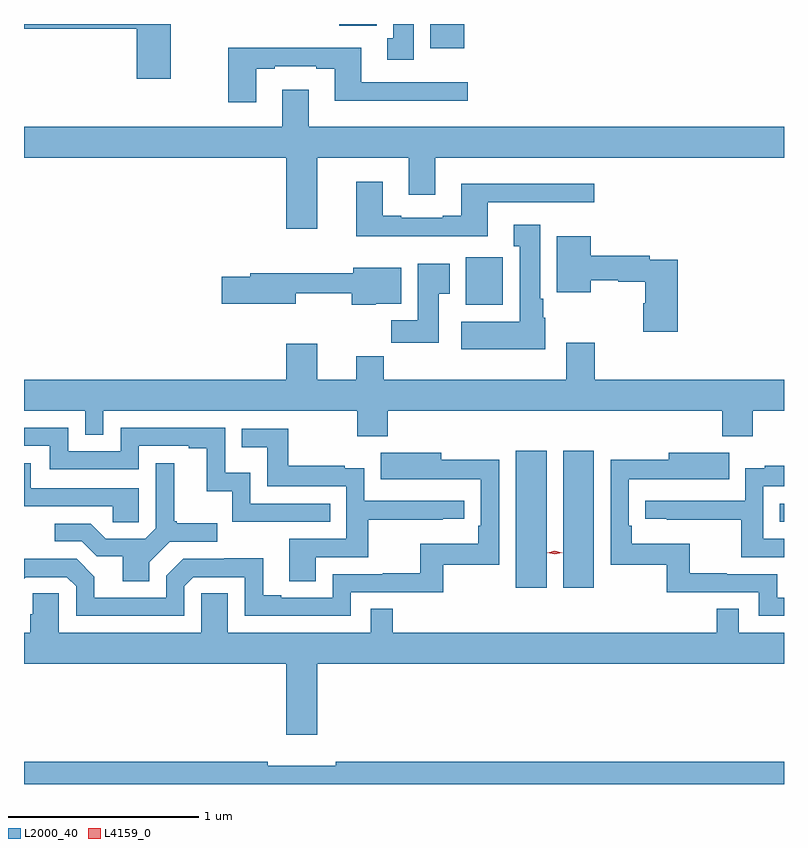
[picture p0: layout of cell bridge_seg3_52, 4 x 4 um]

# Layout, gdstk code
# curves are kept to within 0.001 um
import gdstk
lib = gdstk.Library(unit=1e-6, precision=1e-09)
def R(c, l, rs):  # rectangles x0, y0, x1, y1
    for r in rs: c.add(gdstk.rectangle(r[:2], r[2:], *l))
def P(c, l, *ps):  # polygons
    for p in ps: c.add(gdstk.Polygon(p, *l))
L2000_40 = (2000, 40)
L4159_0 = (4159, 0)

bridge_seg3_52 = lib.new_cell('bridge_seg3_52')
R(bridge_seg3_52, L2000_40, [(1041.341,687.996,1041.502,688.717), (1041.59,687.996,1041.751,688.717), (1042.729,688.344,1042.752,688.44), (1041.077,689.486,1041.273,689.737), (1040.891,690.836,1041.07,690.964), (1040.411,690.956,1040.608,690.964)])
P(bridge_seg3_52, L2000_40, [(1040.803,690.964),(1040.696,690.964),(1040.696,690.89),(1040.663,690.89),(1040.663,690.777),(1040.803,690.777)],
  [(1039.524,690.964),(1038.752,690.964),(1038.752,690.94),(1039.346,690.94),(1039.346,690.675),(1039.524,690.675)],
  [(1039.975,690.729),(1040.071,690.729),(1040.071,690.741),(1040.291,690.741),(1040.291,690.729),(1040.387,690.729),(1040.387,690.56),(1041.088,690.56),(1041.088,690.657),(1040.527,690.657),(1040.527,690.838),(1039.828,690.838),(1039.828,690.552),(1039.975,690.552)],
  [(1040.296,690.26),(1040.777,690.26),(1040.777,690.066),(1040.917,690.066),(1040.917,690.26),(1042.752,690.26),(1042.752,690.424),(1040.251,690.424),(1040.251,690.619),(1040.111,690.619),(1040.111,690.424),(1038.752,690.424),(1038.752,690.26),(1040.132,690.26),(1040.132,689.886),(1040.296,689.886)],
  [(1041.193,690.027),(1041.754,690.027),(1041.754,690.124),(1041.053,690.124),(1041.053,689.956),(1040.957,689.956),(1040.957,689.943),(1040.737,689.943),(1040.737,689.956),(1040.641,689.956),(1040.641,690.133),(1040.501,690.133),(1040.501,689.846),(1041.193,689.846)],
  [(1041.496,689.418),(1041.484,689.418),(1041.484,689.518),(1041.469,689.518),(1041.469,689.908),(1041.329,689.908),(1041.329,689.795),(1041.362,689.795),(1041.362,689.398),(1041.053,689.398),(1041.053,689.252),(1041.496,689.252)],
  [(1042.193,689.724),(1042.046,689.724),(1042.046,689.744),(1041.736,689.744),(1041.736,689.848),(1041.557,689.848),(1041.557,689.552),(1041.736,689.552),(1041.736,689.616),(1041.879,689.616),(1041.879,689.608),(1042.022,689.608),(1042.022,689.493),(1042.01,689.493),(1042.01,689.343),(1042.193,689.343)],
  [(1040.935,689.545),(1040.992,689.545),(1040.992,689.701),(1040.825,689.701),(1040.825,689.404),(1040.686,689.404),(1040.686,689.286),(1040.935,689.286)],
  [(1040.604,689.492),(1040.737,689.492),(1040.737,689.68),(1040.486,689.68),(1040.486,689.652),(1039.943,689.652),(1039.943,689.633),(1039.794,689.633),(1039.794,689.491),(1040.182,689.491),(1040.182,689.548),(1040.478,689.548),(1040.478,689.486),(1040.604,689.486)],
  [(1040.666,688.928),(1042.427,688.928),(1042.427,688.793),(1042.587,688.793),(1042.587,688.928),(1042.752,688.928),(1042.752,689.092),(1041.757,689.092),(1041.757,689.287),(1041.605,689.287),(1041.605,689.092),(1040.645,689.092),(1040.645,689.216),(1040.501,689.216),(1040.501,689.092),(1040.296,689.092),(1040.296,689.281),(1040.132,689.281),(1040.132,689.092),(1038.752,689.092),(1038.752,688.928),(1039.074,688.928),(1039.074,688.801),(1039.17,688.801),(1039.17,688.928),(1040.506,688.928),(1040.506,688.793),(1040.666,688.793)],
  [(1040.363,688.44),(1039.944,688.44),(1039.944,688.603),(1039.812,688.603),(1039.812,688.839),(1039.26,688.839),(1039.26,688.716),(1038.984,688.716),(1038.984,688.839),(1038.752,688.839),(1038.752,688.743),(1038.888,688.743),(1038.888,688.62),(1039.356,688.62),(1039.356,688.743),(1039.619,688.743),(1039.619,688.731),(1039.715,688.731),(1039.715,688.505),(1039.848,688.505),(1039.848,688.344),(1040.363,688.344)],
  [(1040.287,688.158),(1040.564,688.158),(1040.564,688.354),(1040.957,688.354),(1040.957,688.359),(1041.07,688.359),(1041.07,688.455),(1040.544,688.455),(1040.544,688.627),(1040.441,688.627),(1040.441,688.639),(1040.143,688.639),(1040.143,688.833),(1039.897,688.833),(1039.897,688.736),(1040.032,688.736),(1040.032,688.53),(1040.448,688.53),(1040.448,688.254),(1040.147,688.254),(1040.147,688.03),(1040.287,688.03)],
  [(1039.596,688.005),(1039.644,688.053),(1039.914,688.053),(1039.914,687.849),(1040.472,687.849),(1040.472,687.972),(1040.959,687.972),(1040.959,688.119),(1041.252,688.119),(1041.252,688.67),(1040.947,688.67),(1040.947,688.708),(1040.629,688.708),(1040.629,688.568),(1041.156,688.569),(1041.156,688.324),(1041.143,688.324),(1041.143,688.228),(1040.838,688.228),(1040.838,688.073),(1040.641,688.073),(1040.641,688.068),(1040.376,688.068),(1040.376,687.945),(1040.107,687.945),(1040.107,687.958),(1040.011,687.958),(1040.011,688.151),(1039.806,688.151),(1039.806,688.149),(1039.59,688.149),(1039.5,688.059),(1039.5,687.945),(1039.123,687.945),(1039.123,688.055),(1039.029,688.149),(1038.752,688.149),(1038.752,688.043),(1038.762,688.053),(1038.978,688.053),(1039.026,688.005),(1039.026,687.849),(1039.596,687.849)],
  [(1042.752,687.945),(1042.716,687.945),(1042.716,688.068),(1042.451,688.068),(1042.451,688.073),(1042.255,688.073),(1042.255,688.228),(1041.95,688.228),(1041.95,688.324),(1041.936,688.324),(1041.936,688.569),(1042.249,688.569),(1042.249,688.568),(1042.463,688.568),(1042.463,688.708),(1042.145,688.708),(1042.145,688.67),(1041.84,688.67),(1041.84,688.119),(1042.134,688.119),(1042.134,687.972),(1042.62,687.972),(1042.62,687.849),(1042.752,687.849)],
  [(1039.356,688.521),(1038.787,688.521),(1038.787,688.651),(1038.752,688.651),(1038.752,688.425),(1039.219,688.425),(1039.219,688.341),(1039.356,688.341)],
  [(1039.411,688.132),(1039.518,688.239),(1039.768,688.239),(1039.768,688.336),(1039.555,688.336),(1039.555,688.348),(1039.543,688.348),(1039.543,688.651),(1039.446,688.651),(1039.446,688.311),(1039.389,688.254),(1039.183,688.254),(1039.102,688.335),(1038.915,688.335),(1038.915,688.242),(1039.056,688.242),(1039.136,688.162),(1039.271,688.162),(1039.271,688.03),(1039.411,688.03)],
  [(1042.752,688.254),(1042.644,688.254),(1042.644,688.53),(1042.752,688.53),(1042.752,688.639),(1042.651,688.639),(1042.651,688.627),(1042.548,688.627),(1042.548,688.455),(1042.023,688.455),(1042.023,688.359),(1042.135,688.359),(1042.135,688.354),(1042.528,688.354),(1042.528,688.158),(1042.752,688.158)],
  [(1040.296,687.596),(1042.752,687.596),(1042.752,687.76),(1042.515,687.76),(1042.515,687.887),(1042.399,687.887),(1042.399,687.76),(1040.693,687.76),(1040.693,687.887),(1040.577,687.887),(1040.577,687.76),(1039.825,687.76),(1039.825,687.968),(1039.686,687.968),(1039.686,687.76),(1038.936,687.76),(1038.936,687.968),(1038.799,687.968),(1038.799,687.858),(1038.785,687.858),(1038.785,687.76),(1038.752,687.76),(1038.752,687.596),(1040.132,687.596),(1040.132,687.222),(1040.296,687.222)],
  [(1042.752,687.08),(1040.392,687.08),(1040.392,687.061),(1040.036,687.061),(1040.036,687.08),(1038.752,687.08),(1038.752,686.964),(1042.752,686.964)])
P(bridge_seg3_52, L4159_0, [(1041.546,688.172),(1041.506,688.182),(1041.506,688.182),(1041.506,688.182),(1041.546,688.192),(1041.586,688.182),(1041.586,688.182),(1041.586,688.182)])

lib.write_gds('bridge_seg3_52.gds')
